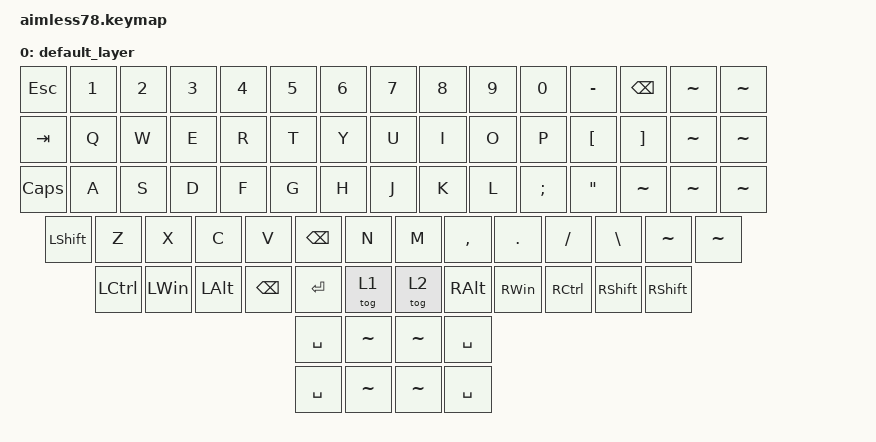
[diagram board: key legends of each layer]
#include <behaviors.dtsi>
#include <dt-bindings/zmk/keys.h>
#include <dt-bindings/zmk/bt.h>

/ {
    keymap {
        compatible = "zmk,keymap";

        default_layer {
            bindings = <
            
            &kp ESC &kp N1 &kp N2 &kp N3 &kp N4 &kp N5 &kp N6       &kp N7 &kp N8 &kp N9 &kp N0 &kp MINUS &kp BSPC &kp TILDE &kp TILDE
            &kp TAB &kp Q &kp W &kp E &kp R &kp T &kp Y             &kp U &kp I &kp O &kp P &kp LBKT &kp RBKT &kp TILDE &kp TILDE
            &kp CAPS &kp A &kp S &kp D &kp F &kp G &kp H            &kp J &kp K &kp L &kp SEMI &kp DQT &kp TILDE &kp TILDE &kp TILDE
            &kp LSHIFT &kp Z &kp X &kp C &kp V &kp BSPC             &kp N &kp M &kp COMMA &kp DOT &kp FSLH &kp BSLH &kp TILDE &kp TILDE
            &kp LCTRL &kp LWIN &kp LALT &kp BSPC &kp ENTER          &tog 1 &tog 2 &kp RALT &kp RWIN &kp RCTRL &kp RSHIFT &kp RSHIFT
                                    &kp SPACE &kp TILDE             &kp TILDE &kp SPACE
                                    &kp SPACE &kp TILDE             &kp TILDE &kp SPACE
            >;
        };
    };
};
